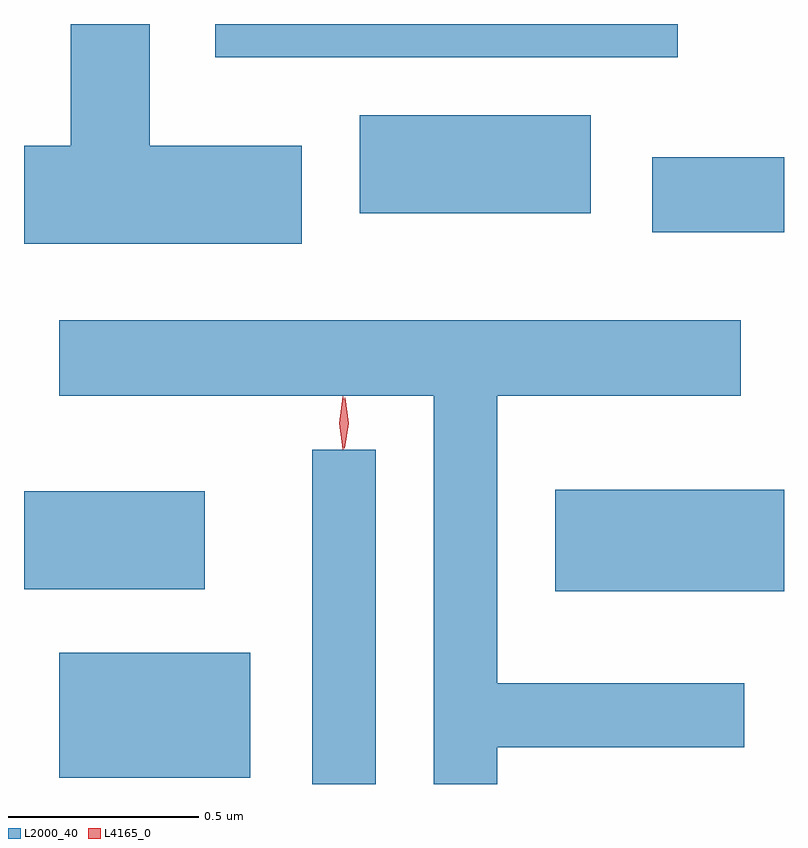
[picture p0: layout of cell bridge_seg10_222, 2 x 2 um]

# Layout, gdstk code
import gdstk
lib = gdstk.Library(unit=1e-6, precision=1e-09)
def R(c, l, rs):  # rectangles x0, y0, x1, y1
    for r in rs: c.add(gdstk.rectangle(r[:2], r[2:], *l))
def P(c, l, *ps):  # polygons
    for p in ps: c.add(gdstk.Polygon(p, *l))
L2000_40 = (2000, 40)
L4165_0 = (4165, 0)

bridge_seg10_222 = lib.new_cell('bridge_seg10_222')
R(bridge_seg10_222, L2000_40, [(1794.791,2141.294,1794.959,2142.173), (1794.126,2141.311,1794.629,2141.639), (1795.431,2141.801,1796.033,2142.069), (1794.033,2141.806,1794.509,2142.064), (1795.686,2142.746,1796.033,2142.944), (1794.916,2142.796,1795.524,2143.054), (1794.536,2143.206,1795.754,2143.294)])
P(bridge_seg10_222, L2000_40, [(1794.764,2142.974),(1794.364,2142.974),(1794.364,2143.294),(1794.156,2143.294),(1794.156,2142.974),(1794.033,2142.974),(1794.033,2142.716),(1794.764,2142.716)],
  [(1795.279,2141.391),(1795.928,2141.391),(1795.928,2141.559),(1795.279,2141.559),(1795.279,2142.316),(1795.919,2142.316),(1795.919,2142.514),(1794.126,2142.514),(1794.126,2142.316),(1795.111,2142.316),(1795.111,2141.294),(1795.279,2141.294)])
P(bridge_seg10_222, L4165_0, [(1794.876,2142.178),(1794.867,2142.244),(1794.877,2142.31),(1794.877,2142.311),(1794.878,2142.31),(1794.887,2142.244),(1794.877,2142.178),(1794.877,2142.178)],
  [(1794.872,2142.174),(1794.872,2142.175),(1794.862,2142.244),(1794.872,2142.313),(1794.872,2142.314),(1794.873,2142.313),(1794.882,2142.244),(1794.873,2142.175)])

lib.write_gds('bridge_seg10_222.gds')
